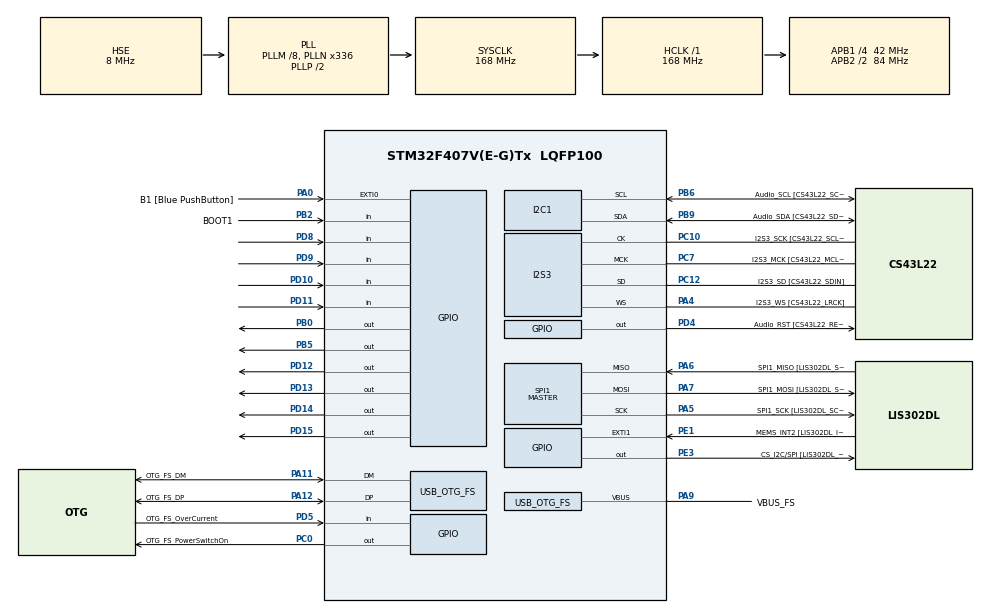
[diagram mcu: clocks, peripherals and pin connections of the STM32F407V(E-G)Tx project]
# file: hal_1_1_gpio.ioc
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I2S3.AudioFreq-Half_Duplex_Master=I2S_AUDIOFREQ_96K
I2S3.ErrorAudioFreq=-2.34 %
I2S3.ErrorAudioFreq-Half_Duplex_Master=0.8 %
I2S3.FullDuplexMode=I2S_FULLDUPLEXMODE_DISABLE
I2S3.Instance=SPI$Index
I2S3.RealAudioFreq=93.75 KHz
I2S3.RealAudioFreq-Half_Duplex_Master=96.774 KHz
I2S3.VirtualMode=I2S_MODE_MASTER
Mcu.Family=STM32F4
Mcu.Name=STM32F407V(E-G)Tx
Mcu.Package=LQFP100
NVIC.OTG_FS_IRQn=true\:0\:0\:false\:false\:true\:true\:true
NVIC.PriorityGroup=NVIC_PRIORITYGROUP_0
PA0-WKUP.GPIO_Label=B1 [Blue PushButton]
PA0-WKUP.GPIO_ModeDefaultEXTI=GPIO_MODE_EVT_RISING
PA0-WKUP.GPIO_PuPd=GPIO_NOPULL
PA0-WKUP.Signal=GPXTI0
PA10.GPIO_Label=OTG_FS_ID
PA10.GPIO_Mode=GPIO_MODE_AF_PP
PA10.GPIO_PuPd=GPIO_NOPULL
PA10.GPIO_Speed=GPIO_SPEED_FREQ_LOW
PA10.Signal=USB_OTG_FS_ID
PA11.GPIO_Label=OTG_FS_DM
PA11.GPIO_Mode=GPIO_MODE_AF_PP
PA11.GPIO_PuPd=GPIO_NOPULL
PA11.GPIO_Speed=GPIO_SPEED_FREQ_LOW
PA11.Mode=Host_Only
PA11.Signal=USB_OTG_FS_DM
PA12.GPIO_Label=OTG_FS_DP
PA12.GPIO_Mode=GPIO_MODE_AF_PP
PA12.GPIO_PuPd=GPIO_NOPULL
PA12.GPIO_Speed=GPIO_SPEED_FREQ_LOW
PA12.Mode=Host_Only
PA12.Signal=USB_OTG_FS_DP
PA13.GPIO_Label=SWDIO
PA13.Mode=Serial_Wire
PA13.Signal=SYS_JTMS-SWDIO
PA14.GPIO_Label=SWCLK
PA14.Mode=Serial_Wire
PA14.Signal=SYS_JTCK-SWCLK
PA4.GPIO_Label=I2S3_WS [CS43L22_LRCK]
PA4.GPIO_Mode=GPIO_MODE_AF_PP
PA4.GPIO_PuPd=GPIO_NOPULL
PA4.GPIO_Speed=GPIO_SPEED_FREQ_LOW
PA4.Mode=Half_Duplex_Master
PA4.Signal=I2S3_WS
PA5.GPIO_Label=SPI1_SCK [LIS302DL_SCL/SPC]
PA5.GPIO_Mode=GPIO_MODE_AF_PP
PA5.GPIO_PuPd=GPIO_NOPULL
PA5.GPIO_Speed=GPIO_SPEED_FREQ_LOW
PA5.Mode=Full_Duplex_Master
PA5.Signal=SPI1_SCK
PA6.GPIO_Label=SPI1_MISO [LIS302DL_SDO]
PA6.GPIO_Mode=GPIO_MODE_AF_PP
PA6.GPIO_PuPd=GPIO_NOPULL
PA6.GPIO_Speed=GPIO_SPEED_FREQ_LOW
PA6.Mode=Full_Duplex_Master
PA6.Signal=SPI1_MISO
PA7.GPIO_Label=SPI1_MOSI [LIS302DL_SDA/SDI/SDO]
PA7.GPIO_Mode=GPIO_MODE_AF_PP
PA7.GPIO_PuPd=GPIO_NOPULL
PA7.GPIO_Speed=GPIO_SPEED_FREQ_LOW
PA7.Mode=Full_Duplex_Master
PA7.Signal=SPI1_MOSI
PA9.GPIO_Label=VBUS_FS
PA9.GPIO_Mode=GPIO_MODE_INPUT
PA9.GPIO_PuPd=GPIO_NOPULL
PA9.Mode=Activate_VBUS
PA9.Signal=USB_OTG_FS_VBUS
PB0.Signal=GPIO_Output
PB10.GPIO_Label=CLK_IN [MP45DT02_CLK]
PB10.GPIO_Mode=GPIO_MODE_AF_PP
PB10.GPIO_PuPd=GPIO_NOPULL
PB10.GPIO_Speed=GPIO_SPEED_FREQ_LOW
PB10.Signal=I2S2_CK
PB2.GPIO_Label=BOOT1
PB2.GPIO_Mode=GPIO_MODE_INPUT
PB2.GPIO_PuPd=GPIO_NOPULL
PB2.Signal=GPIO_Input
PB3.GPIO_Label=SWO
PB3.Signal=SYS_JTDO-SWO
PB5.Signal=GPIO_Output
PB6.GPIO_Label=Audio_SCL [CS43L22_SCL]
PB6.GPIO_Mode=GPIO_MODE_AF_OD
PB6.GPIO_PuPd=GPIO_NOPULL
PB6.GPIO_Speed=GPIO_SPEED_FREQ_LOW
PB6.Mode=I2C
PB6.Signal=I2C1_SCL
PB9.GPIO_Label=Audio_SDA [CS43L22_SDA]
PB9.GPIO_Mode=GPIO_MODE_AF_OD
PB9.GPIO_PuPd=GPIO_NOPULL
PB9.GPIO_Speed=GPIO_SPEED_FREQ_LOW
PB9.Mode=I2C
PB9.Signal=I2C1_SDA
PC0.GPIO_Label=OTG_FS_PowerSwitchOn
PC0.GPIO_PuPd=GPIO_NOPULL
PC0.GPIO_Speed=GPIO_SPEED_FREQ_LOW
PC0.PinState=GPIO_PIN_SET
PC0.Signal=GPIO_Output
PC10.GPIO_Label=I2S3_SCK [CS43L22_SCLK]
PC10.GPIO_Mode=GPIO_MODE_AF_PP
PC10.GPIO_PuPd=GPIO_NOPULL
PC10.GPIO_Speed=GPIO_SPEED_FREQ_LOW
PC10.Mode=Half_Duplex_Master
PC10.Signal=I2S3_CK
PC12.GPIO_Label=I2S3_SD [CS43L22_SDIN]
PC12.GPIO_Mode=GPIO_MODE_AF_PP
PC12.GPIO_PuPd=GPIO_NOPULL
PC12.GPIO_Speed=GPIO_SPEED_FREQ_LOW
PC12.Mode=Half_Duplex_Master
PC12.Signal=I2S3_SD
PC14-OSC32_IN.GPIO_Label=PC14-OSC32_IN
PC14-OSC32_IN.Mode=LSE-External-Oscillator
PC14-OSC32_IN.Signal=RCC_OSC32_IN
PC15-OSC32_OUT.GPIO_Label=PC15-OSC32_OUT
PC15-OSC32_OUT.Mode=LSE-External-Oscillator
PC15-OSC32_OUT.Signal=RCC_OSC32_OUT
PC3.GPIO_Label=PDM_OUT [MP45DT02_DOUT]
PC3.GPIO_Mode=GPIO_MODE_AF_PP
PC3.GPIO_PuPd=GPIO_NOPULL
PC3.GPIO_Speed=GPIO_SPEED_FREQ_LOW
PC3.Signal=I2S2_SD
PC7.GPIO_Label=I2S3_MCK [CS43L22_MCLK]
PC7.GPIO_Mode=GPIO_MODE_AF_PP
PC7.GPIO_PuPd=GPIO_NOPULL
PC7.GPIO_Speed=GPIO_SPEED_FREQ_LOW
PC7.Mode=Master_Clock_Activated
PC7.Signal=I2S3_MCK
PD10.Signal=GPIO_Input
PD11.Signal=GPIO_Input
PD12.GPIO_PuPd=GPIO_NOPULL
PD12.GPIO_Speed=GPIO_SPEED_FREQ_LOW
PD12.Signal=GPIO_Output
PD13.GPIO_PuPd=GPIO_NOPULL
PD13.GPIO_Speed=GPIO_SPEED_FREQ_LOW
PD13.Signal=GPIO_Output
PD14.GPIO_PuPd=GPIO_NOPULL
PD14.GPIO_Speed=GPIO_SPEED_FREQ_LOW
PD14.Signal=GPIO_Output
PD15.GPIO_PuPd=GPIO_NOPULL
PD15.GPIO_Speed=GPIO_SPEED_FREQ_LOW
PD15.Signal=GPIO_Output
PD4.GPIO_Label=Audio_RST [CS43L22_RESET]
PD4.GPIO_PuPd=GPIO_NOPULL
PD4.GPIO_Speed=GPIO_SPEED_FREQ_LOW
PD4.Signal=GPIO_Output
PD5.GPIO_Label=OTG_FS_OverCurrent
PD5.GPIO_Mode=GPIO_MODE_INPUT
PD5.GPIO_PuPd=GPIO_NOPULL
PD5.Signal=GPIO_Input
PD8.Signal=GPIO_Input
PD9.Signal=GPIO_Input
PE1.GPIO_Label=MEMS_INT2 [LIS302DL_INT2]
PE1.GPIO_ModeDefaultEXTI=GPIO_MODE_EVT_RISING
PE1.GPIO_PuPd=GPIO_NOPULL
PE1.Signal=GPXTI1
PE3.GPIO_Label=CS_I2C/SPI [LIS302DL_CS_I2C/SPI]
PE3.GPIO_PuPd=GPIO_NOPULL
PE3.GPIO_Speed=GPIO_SPEED_FREQ_LOW
PE3.Signal=GPIO_Output
PH0-OSC_IN.GPIO_Label=PH0-OSC_IN
PH0-OSC_IN.Mode=HSE-External-Oscillator
PH0-OSC_IN.Signal=RCC_OSC_IN
PH1-OSC_OUT.GPIO_Label=PH1-OSC_OUT
PH1-OSC_OUT.Mode=HSE-External-Oscillator
PH1-OSC_OUT.Signal=RCC_OSC_OUT
ProjectManager.HeapSize=0x200
ProjectManager.StackSize=0x400
ProjectManager.TargetToolchain=STM32CubeIDE
RCC.48MHZClocksFreq_Value=48000000
RCC.AHBFreq_Value=168000000
RCC.APB1CLKDivider=RCC_HCLK_DIV4
RCC.APB1Freq_Value=42000000
RCC.APB1TimFreq_Value=84000000
RCC.APB2CLKDivider=RCC_HCLK_DIV2
RCC.APB2Freq_Value=84000000
RCC.APB2TimFreq_Value=168000000
RCC.CortexFreq_Value=168000000
RCC.HCLKFreq_Value=168000000
RCC.HSE_VALUE=8000000
RCC.HSI_VALUE=16000000
RCC.PLLM=8
RCC.PLLN=336
RCC.PLLQ=7
RCC.SYSCLKFreq_VALUE=168000000
RCC.SYSCLKSource=RCC_SYSCLKSOURCE_PLLCLK
RCC.VCOOutputFreq_Value=336000000
SPI1.BaudRatePrescaler-Full_Duplex_Master=SPI_BAUDRATEPRESCALER_2
SPI1.CalculateBaudRate-Full_Duplex_Master=42.0 MBits/s
SPI1.Direction=SPI_DIRECTION_2LINES
SPI1.Mode=SPI_MODE_MASTER
SPI1.Mode-Full_Duplex_Master=SPI_MODE_MASTER
SPI1.VirtualType=VM_MASTER
USB_HOST.BSP.number=1
USB_HOST.USBH_HandleTypeDef-CDC_FS=hUsbHostFS
USB_HOST.VirtualModeFS=Cdc
USB_HOST0.BSP.STBoard=false
USB_HOST0.BSP.api=Unknown
USB_HOST0.BSP.i2caddr=0
USB_HOST0.BSP.i2creg=0
USB_HOST0.BSP.instance=PC0
USB_HOST0.BSP.ip=GPIO
USB_HOST0.BSP.mode=Output
USB_HOST0.BSP.name=Drive_VBUS_FS
USB_HOST0.BSP.solution=PC0
USB_OTG_FS.VirtualMode=Host_Only
USB_OTG_FS.phy_itface=HCD_PHY_EMBEDDED
VP_USB_HOST_VS_USB_HOST_CDC_FS.Mode=CDC_FS
board=STM32F407G-DISC1

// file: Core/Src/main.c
/* USER CODE BEGIN Header */
/**
 ******************************************************************************
 * @file           : main.c
 * @brief          : Main program body
 ******************************************************************************
 * @attention
 *
 * <h2><center>&copy; Copyright (c) 2020 STMicroelectronics.
 * All rights reserved.</center></h2>
 *
 * This software component is licensed by ST under Ultimate Liberty license
 * SLA0044, the "License"; You may not use this file except in compliance with
 * the License. You may obtain a copy of the License at:
 *                             www.st.com/SLA0044
 *
 ******************************************************************************
 */
/* USER CODE END Header */

#include "main.h"
#include "i2c.h"
#include "i2s.h"
#include "spi.h"
#include "usb_host.h"
#include "gpio.h"

void SystemClock_Config(void);
void MX_USB_HOST_Process(void);

int main(void)
{

	/* MCU Configuration--------------------------------------------------------*/

	/* Reset of all peripherals, Initializes the Flash interface and the Systick. */
	HAL_Init();

	/* Configure the system clock */
	SystemClock_Config();

	/* Initialize all configured peripherals */
	MX_GPIO_Init();
	MX_I2C1_Init();
	MX_I2S3_Init();
	MX_SPI1_Init();
	MX_USB_HOST_Init();
	/* USER CODE BEGIN 2 */
	HAL_GPIO_WritePin(GPIOB, GPIO_PIN_0, GPIO_PIN_SET);
	HAL_GPIO_WritePin(GPIOB, GPIO_PIN_5, GPIO_PIN_SET);
	HAL_GPIO_WritePin(GPIOD, GPIO_PIN_15, GPIO_PIN_SET);

	/* USER CODE END 2 */

	/* Infinite loop */
	/* USER CODE BEGIN WHILE */
	while (1)
	{
		if(HAL_GPIO_ReadPin(GPIOA, GPIO_PIN_0) == GPIO_PIN_SET) {
			HAL_GPIO_WritePin(GPIOD, GPIO_PIN_15, GPIO_PIN_SET);
		}
		else {
			HAL_GPIO_WritePin(GPIOD, GPIO_PIN_15, GPIO_PIN_RESET);
		}
		HAL_GPIO_WritePin(GPIOD, GPIO_PIN_12, GPIO_PIN_SET);
		HAL_GPIO_WritePin(GPIOD, GPIO_PIN_13, GPIO_PIN_SET);
		HAL_GPIO_WritePin(GPIOD, GPIO_PIN_14, GPIO_PIN_SET);

		HAL_Delay(1000);

		HAL_GPIO_WritePin(GPIOD, GPIO_PIN_12, GPIO_PIN_RESET);
		HAL_GPIO_WritePin(GPIOD, GPIO_PIN_13, GPIO_PIN_RESET);
		HAL_GPIO_WritePin(GPIOD, GPIO_PIN_14, GPIO_PIN_RESET);

		HAL_Delay(1000);

		/* USER CODE END WHILE */
		MX_USB_HOST_Process();

	}
}

void SystemClock_Config(void)
{
	RCC_OscInitTypeDef RCC_OscInitStruct = {0};
	RCC_ClkInitTypeDef RCC_ClkInitStruct = {0};
	RCC_PeriphCLKInitTypeDef PeriphClkInitStruct = {0};

	/** Configure the main internal regulator output voltage
	 */
	__HAL_RCC_PWR_CLK_ENABLE();
	__HAL_PWR_VOLTAGESCALING_CONFIG(PWR_REGULATOR_VOLTAGE_SCALE1);
	/** Initializes the CPU, AHB and APB busses clocks
	 */
	RCC_OscInitStruct.OscillatorType = RCC_OSCILLATORTYPE_HSE;
	RCC_OscInitStruct.HSEState = RCC_HSE_ON;
	RCC_OscInitStruct.PLL.PLLState = RCC_PLL_ON;
	RCC_OscInitStruct.PLL.PLLSource = RCC_PLLSOURCE_HSE;
	RCC_OscInitStruct.PLL.PLLM = 8;
	RCC_OscInitStruct.PLL.PLLN = 336;
	RCC_OscInitStruct.PLL.PLLP = RCC_PLLP_DIV2;
	RCC_OscInitStruct.PLL.PLLQ = 7;
	if (HAL_RCC_OscConfig(&RCC_OscInitStruct) != HAL_OK)
	{
		Error_Handler();
	}
	/** Initializes the CPU, AHB and APB busses clocks
	 */
	RCC_ClkInitStruct.ClockType = RCC_CLOCKTYPE_HCLK|RCC_CLOCKTYPE_SYSCLK
			|RCC_CLOCKTYPE_PCLK1|RCC_CLOCKTYPE_PCLK2;
	RCC_ClkInitStruct.SYSCLKSource = RCC_SYSCLKSOURCE_PLLCLK;
	RCC_ClkInitStruct.AHBCLKDivider = RCC_SYSCLK_DIV1;
	RCC_ClkInitStruct.APB1CLKDivider = RCC_HCLK_DIV4;
	RCC_ClkInitStruct.APB2CLKDivider = RCC_HCLK_DIV2;

	if (HAL_RCC_ClockConfig(&RCC_ClkInitStruct, FLASH_LATENCY_5) != HAL_OK)
	{
		Error_Handler();
	}
	PeriphClkInitStruct.PeriphClockSelection = RCC_PERIPHCLK_I2S;
	PeriphClkInitStruct.PLLI2S.PLLI2SN = 192;
	PeriphClkInitStruct.PLLI2S.PLLI2SR = 2;
	if (HAL_RCCEx_PeriphCLKConfig(&PeriphClkInitStruct) != HAL_OK)
	{
		Error_Handler();
	}
}

void Error_Handler(void)
{
}

/************************ (C) COPYRIGHT STMicroelectronics *****END OF FILE****/
